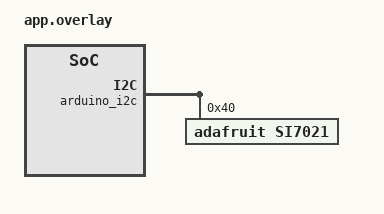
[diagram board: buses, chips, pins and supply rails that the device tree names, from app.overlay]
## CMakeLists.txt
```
cmake_minimum_required(VERSION 3.20.0)

# Este repo no está en el manifiesto de west, así que Zephyr no lo descubre solo.
# Se añade como módulo extra: la ruta apunta a la raíz del repo (la carpeta que
# contiene zephyr/module.yml), dos niveles por encima de esta sample.
# Debe ir ANTES de find_package(Zephyr): zephyr_module.cmake lo lee ahí y, si
# llega tarde, el módulo no se carga sin dar error.
list(APPEND EXTRA_ZEPHYR_MODULES "${CMAKE_CURRENT_SOURCE_DIR}/../..")

# Aquí Zephyr procesa los módulos (module.yml), el devicetree y Kconfig.
# A partir de esta línea ya existen los CONFIG_* como CONFIG_SI7021.
find_package(Zephyr REQUIRED HINTS $ENV{ZEPHYR_BASE})
project(si7021_polling)

# Fuentes de la aplicación. El driver NO se añade aquí: lo compila el
# CMakeLists del módulo si CONFIG_SI7021=y.
target_sources(app PRIVATE src/main.c)
```

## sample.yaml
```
# Metadatos para twister: sin este fichero, twister no considera esta carpeta
# una sample y no la compila. Referencia: zephyr/samples/sensor/dht_polling.
sample:
  name: Si7021 polling sample
  description: Reads temperature and humidity from an Si7021 over I2C
tests:
  # Identificador del escenario; twister lo muestra en los informes.
  sample.sensor.si7021_polling:
    # En CI no hay sensor conectado: solo se comprueba que compila y enlaza.
    build_only: true
    tags: sensors
    # app.overlay usa &arduino_i2c, así que solo sirve en placas con conector
    # Arduino. Se limita a la placa del curso.
    platform_allow:
      - nucleo_wl55jc
    # Placas que se usan con --integration (lo que corre la CI).
    integration_platforms:
      - nucleo_wl55jc
```

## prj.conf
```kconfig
# Referencia zephyr/samples/sensor/sht3xd/prj.conf
CONFIG_STDOUT_CONSOLE=y

# Redundante, porque ya la incluye el sensor
CONFIG_I2C=y

# logging
CONFIG_LOG=y
CONFIG_SENSOR_LOG_LEVEL_DBG=y
CONFIG_LOG_MODE_IMMEDIATE=y
CONFIG_I2C_LOG_LEVEL_DBG=y

# Necesario para que se incluya el sensor
CONFIG_SENSOR=y
CONFIG_CBPRINTF_FP_SUPPORT=y
```

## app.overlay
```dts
/* El Si7021 cuelga del I2C del conector Arduino R3 (SDA = D14, SCL = D15).
 * arduino_i2c es una etiqueta de conector: cada placa la pone sobre su propio
 * controlador (en la nucleo_wl55jc es i2c2 = i2c@40005800, PA11/PA12), así que
 * esta overlay sirve sin cambios en cualquier placa con conector Arduino.
 * &etiqueta modifica un nodo existente; aquí solo se le añade un hijo.
 */
&arduino_i2c {
  //clock-frequency = <I2C_BITRATE_STANDARD>;
	/* nombre@unit-address: la unit-address debe coincidir con reg */
	si7021@40 {
		/* Empareja el nodo con zephyr/dts/bindings/sensor/adafruit,si7021.yaml */
		compatible = "adafruit,si7021";
		/* Dirección I2C de 7 bits del Si7021 (fija, 0x40). Obligatoria por
		 * i2c-device.yaml, que incluye el binding. */
		reg = <0x40>;
	};
};
```

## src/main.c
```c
#include <zephyr/device.h>
#include <zephyr/drivers/sensor.h>
#include <zephyr/kernel.h>
#include <zephyr/sys/printk.h>

int main(void) {
  const struct device *const dev = DEVICE_DT_GET_ONE(adafruit_si7021);

  int err = 0;
  struct sensor_value temp_hum;

  if (!device_is_ready(dev)) {
    printk("Dispositivo %s no está listo\n", dev->name);
    return 0;
  }

  printk("Dispositivo %s listo\n", dev->name);

  while (1) {
    err = sensor_sample_fetch(dev);
    if (err < 0) {
      printk("fetch: %d\n", err);
    }

    err = sensor_channel_get(dev, SENSOR_CHAN_AMBIENT_TEMP, &temp_hum);
    printk("temp: %f\n", sensor_value_to_double(&temp_hum));
    err = sensor_channel_get(dev, SENSOR_CHAN_HUMIDITY, &temp_hum);
    printk("hum: %f\n", sensor_value_to_double(&temp_hum));

    k_sleep(K_SECONDS(2));
  }

  return 0;
}
```
